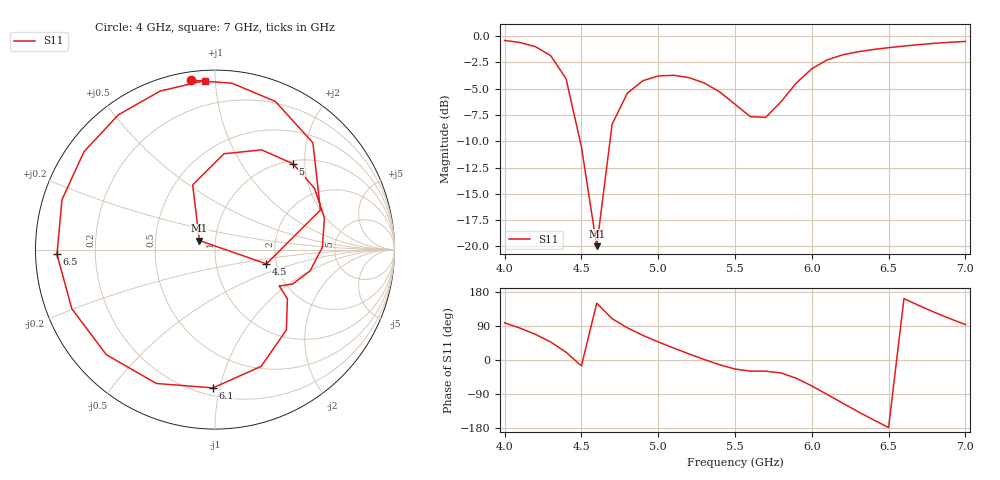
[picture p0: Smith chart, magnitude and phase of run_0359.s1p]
! Touchstone file exported from HFSS 2024.2.0
!  File:  C:/Users/wsak9/Desktop/Sim Fast/Widenad Patch/WP_AI_V1_sweep.aedt
!  Generated:  06:15:47 AM Oct 14, 2026
!  Design:  A1_model
!  Project:  WP_AI_V1_sweep
!  Setup:  Setup1
!  Solution:  Sweep
! Variables:
!  Air_gap = 1.71mm
!  Curve_Amp1 = 0.5
!  Curve_len1 = 1
!  Curve_pos = 11.875mm
!  Extra = 6.8mm
!  H_sub = 0.79mm
!  L_Patch = 19.75mm
!  L_Patch1 = 17.61mm
!  Sx = 3.88mm
!  Sy = 1.31mm
!  WS = 0.5mm
!  W_Patch = 14.15mm
!  W_Patch1 = 10.81mm
!Data is not renormalized
# GHz S MA
! Terminal data exported
! Port[1] = 1
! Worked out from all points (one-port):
!   31 points, 4 GHz to 7 GHz, reference per port
!   lowest |S11| = -20.0 dB at 4.6 GHz (marker M1), VSWR 1.22
!   |S11| at or under -10 dB: 4.492 GHz to 4.686 GHz (194.2 MHz wide, 4.23 % of centre)
!   S11 on the Smith chart (normalised r, x): 4 GHz: 0.04, +0.87; 4.5 GHz: 1.77, -0.31; 5 GHz: 1.06, +1.75; 6.1 GHz: 0.25, -0.95; 6.5 GHz: 0.06, -0.01; 7 GHz: 0.06, +0.94
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4  0.9533 98.1
4.1  0.932 84.2
4.2  0.8914 67.8
4.3  0.8071 47.5
4.4  0.6272 20.6
4.5  0.2976 -15.5
4.6  0.1002 149.9
4.7  0.3811 109.1
4.8  0.5362 84.6
4.9  0.6133 65.0
5  0.6463 47.7
5.2  0.6347 16.2
5.4  0.5431 -12.6
5.5  0.474 -23.8
5.7  0.4106 -29.5
5.8  0.4877 -34.2
5.9  0.5992 -48.4
6  0.6995 -68.4
6.1  0.7705 -90.9
6.2  0.8143 -113.6
6.3  0.8424 -136.0
6.4  0.8632 -157.6
6.5  0.8808 -178.3
6.6  0.8967 162.0
6.7  0.9112 143.3
6.8  0.924 125.6
6.9  0.9347 109.1
7  0.943 93.5
